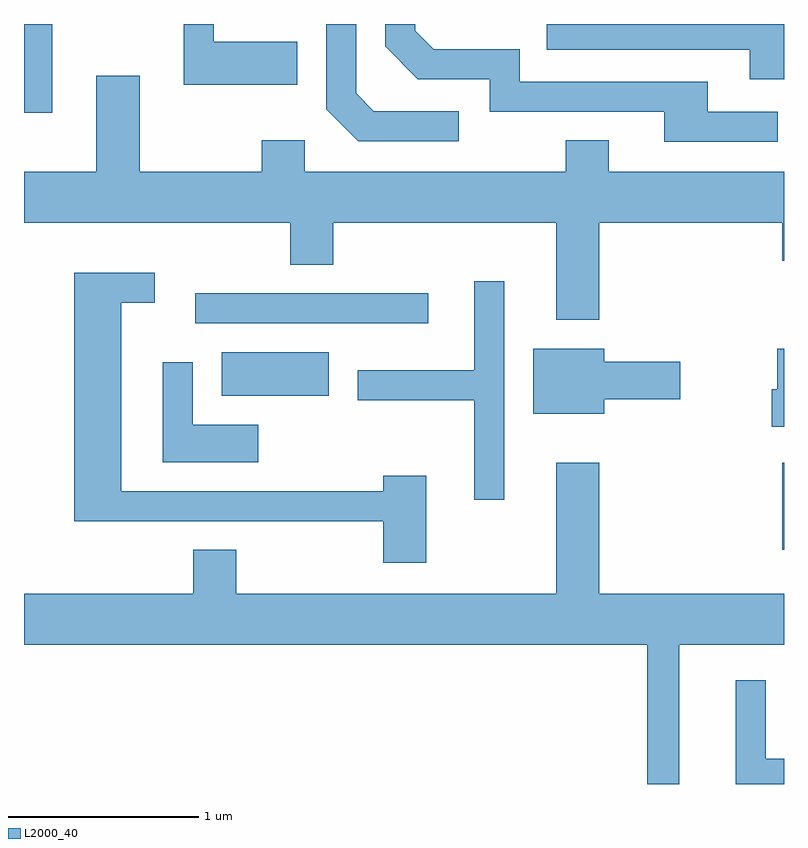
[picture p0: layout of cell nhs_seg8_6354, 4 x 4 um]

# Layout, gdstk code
import gdstk
lib = gdstk.Library(unit=1e-6, precision=1e-09)
def R(c, l, rs):  # rectangles x0, y0, x1, y1
    for r in rs: c.add(gdstk.rectangle(r[:2], r[2:], *l))
def P(c, l, *ps):  # polygons
    for p in ps: c.add(gdstk.Polygon(p, *l))
L2000_40 = (2000, 40)

nhs_seg8_6354 = lib.new_cell('nhs_seg8_6354')
R(nhs_seg8_6354, L2000_40, [(379.601,1843.576,379.611,1844.034), (376.651,1844.386,377.214,1844.614), (376.513,1844.766,377.738,1844.924), (375.611,1845.876,375.759,1846.342)])
P(nhs_seg8_6354, L2000_40, [(379.611,1846.342),(378.363,1846.342),(378.363,1846.206),(379.431,1846.206),(379.431,1846.051),(379.611,1846.051)],
  [(377.898,1845.884),(377.452,1845.884),(377.359,1845.977),(377.359,1846.342),(377.201,1846.342),(377.201,1845.894),(377.369,1845.726),(377.898,1845.726)],
  [(377.049,1846.249),(376.609,1846.249),(376.609,1846.342),(376.451,1846.342),(376.451,1846.021),(377.049,1846.021)],
  [(379.578,1845.879),(379.209,1845.879),(379.209,1846.039),(378.219,1846.039),(378.219,1846.209),(377.767,1846.209),(377.669,1846.307),(377.669,1846.342),(377.511,1846.342),(377.511,1846.224),(377.684,1846.051),(378.061,1846.051),(378.061,1845.881),(378.981,1845.881),(378.981,1845.721),(379.578,1845.721)],
  [(378.639,1845.296),(379.601,1845.296),(379.601,1845.096),(379.611,1845.096),(379.611,1845.564),(378.689,1845.564),(378.689,1845.729),(378.461,1845.729),(378.461,1845.564),(377.089,1845.564),(377.089,1845.729),(376.861,1845.729),(376.861,1845.564),(376.219,1845.564),(376.219,1846.069),(375.991,1846.069),(375.991,1845.564),(375.611,1845.564),(375.611,1845.296),(377.011,1845.296),(377.011,1845.076),(377.239,1845.076),(377.239,1845.296),(378.411,1845.296),(378.411,1844.786),(378.639,1844.786)],
  [(377.729,1843.964),(377.501,1843.964),(377.501,1843.884),(376.124,1843.884),(376.124,1844.876),(376.298,1844.876),(376.298,1845.034),(375.876,1845.034),(375.876,1843.726),(377.501,1843.726),(377.501,1843.506),(377.729,1843.506)],
  [(378.139,1844.988),(377.981,1844.988),(377.981,1844.519),(377.368,1844.519),(377.368,1844.361),(377.981,1844.361),(377.981,1843.838),(378.139,1843.838)],
  [(378.664,1844.366),(379.064,1844.366),(379.064,1844.564),(378.664,1844.564),(378.664,1844.634),(378.291,1844.634),(378.291,1844.291),(378.664,1844.291)],
  [(379.611,1844.634),(379.576,1844.634),(379.576,1844.419),(379.546,1844.419),(379.546,1844.221),(379.611,1844.221)],
  [(376.844,1844.234),(376.499,1844.234),(376.499,1844.563),(376.341,1844.563),(376.341,1844.036),(376.844,1844.036)],
  [(379.059,1843.076),(379.611,1843.076),(379.611,1843.344),(378.639,1843.344),(378.639,1844.034),(378.411,1844.034),(378.411,1843.344),(376.729,1843.344),(376.729,1843.574),(376.501,1843.574),(376.501,1843.344),(375.611,1843.344),(375.611,1843.076),(378.891,1843.076),(378.891,1842.342),(379.059,1842.342)],
  [(379.611,1842.474),(379.514,1842.474),(379.514,1842.888),(379.356,1842.888),(379.356,1842.342),(379.611,1842.342)])

lib.write_gds('nhs_seg8_6354.gds')
